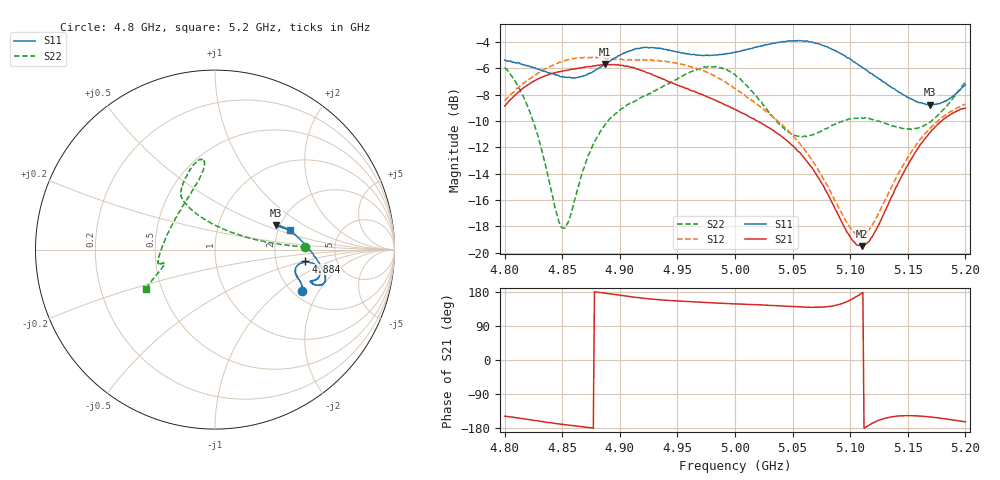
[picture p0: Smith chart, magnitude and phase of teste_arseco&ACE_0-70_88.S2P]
! Network Analyzer HP8722D
! Hewlett-Packard
! Data name: Linha & Wilkinson
! Saver's name: Rodrigo Anjos
! Comments: Teste da utilização de aquisição
! continua pelo VNA HP8722D
! Time and date: 8/5/2025 13:29
!  Frequency  S11  S21  S12  S22
# HZ  S  MA R 50
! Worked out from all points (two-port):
!   401 points, 4.8 GHz to 5.2 GHz, reference 50 ohm
!   highest |S21| = -5.69 dB at 4.887 GHz (marker M1); lowest = -19.5 dB at 5.11 GHz (marker M2)
!   |S21| within 3 dB of the highest: 4.802 GHz to 4.989 GHz (187.4 MHz wide, 3.83 % of centre)
!   lowest |S11| = -8.8 dB at 5.169 GHz (marker M3), VSWR 2.15, Z = 95.1 + j29.7 ohm
!   |S11| at or under -10 dB: nowhere
!   |S22| runs from -18.2 to -5.8 dB; largest |S21 - S12| = 1.1
!   S11 on the Smith chart (normalised r, x): 4.8 GHz: 2.23, -1.46; 4.884 GHz: 2.96, -0.53; 5.2 GHz: 2.33, +0.63
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4.8e9  0.5385 -25.6  0.3601 -148.3  0.3778 11.2  0.5044 1.7
4.812e9  0.5271 -22.4  0.4075 -153.1  0.424 9.6  0.4262 2.8
4.824e9  0.5062 -20.3  0.4444 -158.5  0.4641 7.7  0.3216 6.5
4.849e9  0.4653 -16.0  0.4886 -169.3  0.5293 3.8  0.1251 56.5
4.855e9  0.4612 -14.7  0.4931 -171.9  0.5403 2.8  0.1297 84.0
4.867e9  0.4661 -11.0  0.5031 -176.0  0.5481 1.0  0.1983 113.1
4.884e9  0.5083 -7.5  0.5169 177.7  0.5466 -0.3  0.2918 122.1
4.887e9  0.5183 -7.6  0.5195 176.5  0.5468 -0.1  0.3054 122.5
4.913e9  0.5923 -10.9  0.5021 165.7  0.5409 0.1  0.3762 120.1
4.934e9  0.5981 -15.4  0.4617 159.0  0.5363 -0.7  0.4182 114.2
4.975e9  0.5616 -18.4  0.392 151.7  0.4859 -4.7  0.5059 100.2
5e9  0.5776 -19.2  0.3494 147.9  0.4204 -4.6  0.4736 97.1
5.018e9  0.6024 -19.2  0.318 146.0  0.3683 -2.0  0.3956 103.7
5.046e9  0.6365 -16.9  0.2643 141.6  0.2914 3.9  0.2876 134.1
5.067e9  0.6303 -13.2  0.2096 139.2  0.2245 9.7  0.2798 164.4
5.099e9  0.5476 -2.5  0.1165 156.4  0.1261 37.9  0.3217 -169.9
5.11e9  0.5064 2.5  0.1058 176.3  0.1166 59.6  0.3252 -166.9
5.119e9  0.4777 7.1  0.1148 -167.2  0.127 77.2  0.3199 -165.9
5.134e9  0.4298 14.3  0.156 -151.2  0.1709 94.7  0.3054 -165.3
5.153e9  0.3828 20.5  0.2264 -146.8  0.241 101.9  0.2935 -164.2
5.169e9  0.3644 21.8  0.2849 -150.2  0.2956 103.2  0.3128 -160.9
5.2e9  0.4341 14.7  0.3535 -163.0  0.3665 103.5  0.4449 -150.1
